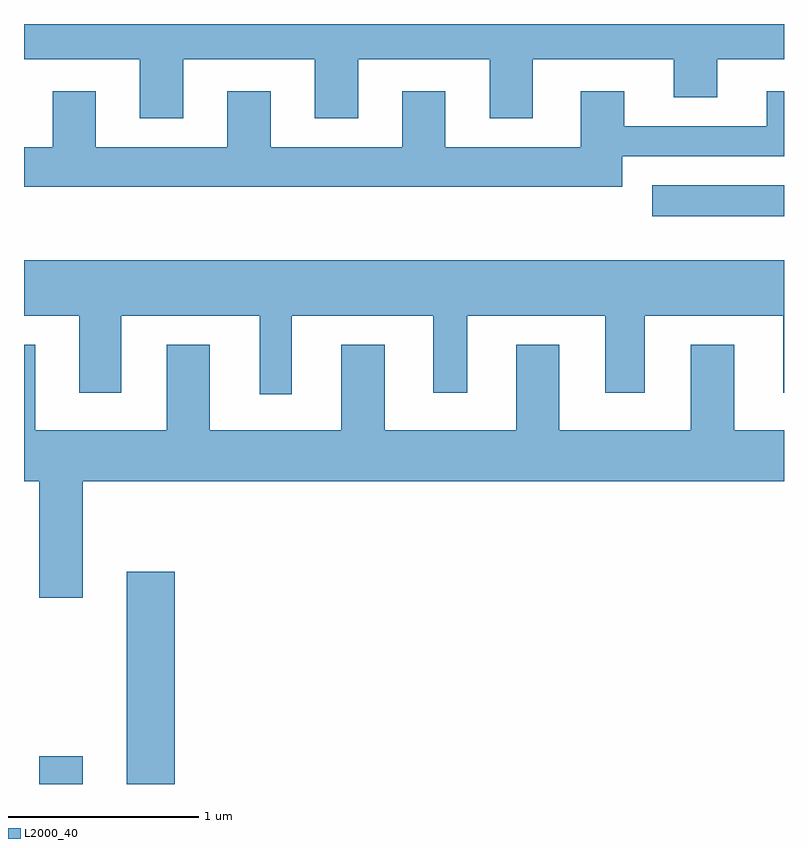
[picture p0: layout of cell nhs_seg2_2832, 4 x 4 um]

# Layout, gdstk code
import gdstk
lib = gdstk.Library(unit=1e-6, precision=1e-09)
def R(c, l, rs):  # rectangles x0, y0, x1, y1
    for r in rs: c.add(gdstk.rectangle(r[:2], r[2:], *l))
def P(c, l, *ps):  # polygons
    for p in ps: c.add(gdstk.Polygon(p, *l))
L2000_40 = (2000, 40)

nhs_seg2_2832 = lib.new_cell('nhs_seg2_2832')
R(nhs_seg2_2832, L2000_40, [(267.691,1077.802,267.919,1077.949), (268.151,1077.802,268.404,1078.919), (270.918,1080.791,271.611,1080.954)])
P(nhs_seg2_2832, L2000_40, [(271.259,1081.616),(271.611,1081.616),(271.611,1081.802),(267.611,1081.802),(267.611,1081.616),(268.221,1081.616),(268.221,1081.306),(268.449,1081.306),(268.449,1081.616),(269.141,1081.616),(269.141,1081.306),(269.369,1081.306),(269.369,1081.616),(270.061,1081.616),(270.061,1081.306),(270.289,1081.306),(270.289,1081.616),(271.031,1081.616),(271.031,1081.416),(271.259,1081.416)],
  [(270.759,1081.106),(271.611,1081.106),(271.611,1081.449),(271.521,1081.449),(271.521,1081.264),(270.769,1081.264),(270.769,1081.449),(270.541,1081.449),(270.541,1081.154),(269.829,1081.154),(269.829,1081.449),(269.601,1081.449),(269.601,1081.154),(268.909,1081.154),(268.909,1081.449),(268.681,1081.449),(268.681,1081.154),(267.989,1081.154),(267.989,1081.449),(267.761,1081.449),(267.761,1081.154),(267.611,1081.154),(267.611,1080.946),(270.759,1080.946)],
  [(269.019,1080.266),(269.766,1080.266),(269.766,1079.861),(269.944,1079.861),(269.944,1080.266),(270.671,1080.266),(270.671,1079.861),(270.879,1079.861),(270.879,1080.266),(271.606,1080.266),(271.606,1079.861),(271.611,1079.861),(271.611,1080.559),(267.611,1080.559),(267.611,1080.266),(267.901,1080.266),(267.901,1079.861),(268.124,1079.861),(268.124,1080.266),(268.851,1080.266),(268.851,1079.853),(269.019,1079.853)],
  [(267.919,1079.396),(271.611,1079.396),(271.611,1079.664),(271.349,1079.664),(271.349,1080.114),(271.121,1080.114),(271.121,1079.664),(270.429,1079.664),(270.429,1080.114),(270.201,1080.114),(270.201,1079.664),(269.509,1079.664),(269.509,1080.114),(269.281,1080.114),(269.281,1079.664),(268.589,1079.664),(268.589,1080.114),(268.361,1080.114),(268.361,1079.664),(267.669,1079.664),(267.669,1080.114),(267.611,1080.114),(267.611,1079.396),(267.691,1079.396),(267.691,1078.781),(267.919,1078.781)])

lib.write_gds('nhs_seg2_2832.gds')
